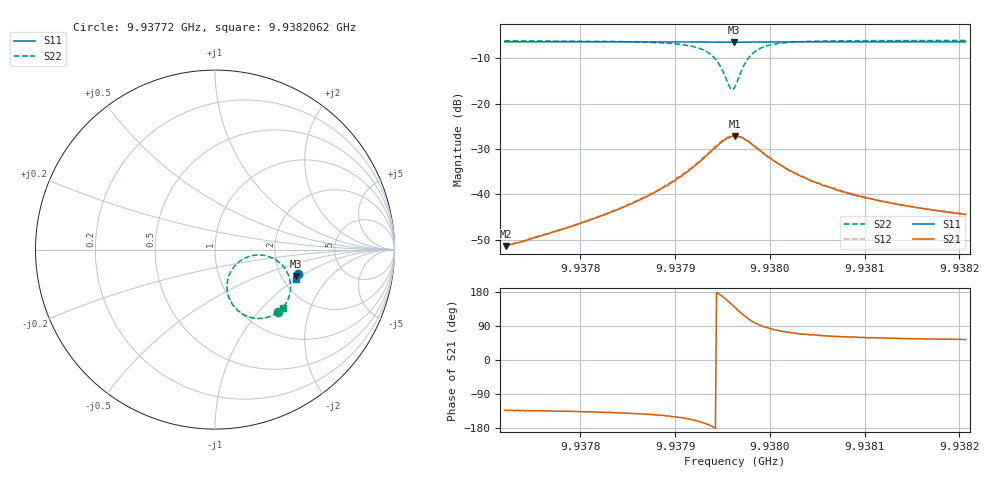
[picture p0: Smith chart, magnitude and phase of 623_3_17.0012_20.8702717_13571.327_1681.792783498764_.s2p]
#  HZ  S  RI  R  50.00
! Rohde & Schwarz Vector Network Analyzer
! Rohde-Schwarz,ZNB20-2Port,1311601062101988,3.16
! Created: UTC 3/20/2024, 11:20:02 PM
! freq[Hz]  re:S11  im:S11  re:S21  im:S21  re:S12  im:S12  re:S22  im:S22
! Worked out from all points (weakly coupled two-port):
!   401 points, 9.93772 GHz to 9.9382062 GHz, reference 50 ohm
!   highest |S21| = -27.13 dB at 9.9379631 GHz (marker M1); lowest = -51.4 dB at 9.9377212 GHz (marker M2)
!   lowest |S11| = -6.5 dB at 9.9379619 GHz (marker M3), VSWR 2.81, Z = 120 - j46.2 ohm
!   |S11| at or under -10 dB: nowhere
!   |S22| runs from -16.9 to -6.1 dB; largest |S21 - S12| = 0.0022
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9.93771997e9  0.4622 -0.1358  -0.00181 -0.00199  -0.00185 -0.00194  0.3497 -0.3488
9.93772119e9  0.4622 -0.136  -0.00185 -0.00195  -0.00188 -0.00198  0.3495 -0.3489
9.93780142e9  0.4599 -0.1414  -0.00352 -0.00333  -0.0036 -0.00337  0.3304 -0.3613
9.93783911e9  0.459 -0.144  -0.00516 -0.00438  -0.0053 -0.00442  0.3137 -0.3693
9.93788287e9  0.4575 -0.1473  -0.00917 -0.00631  -0.00951 -0.00629  0.2766 -0.3808
9.9379157e9  0.4559 -0.1496  -0.0173 -0.00755  -0.0177 -0.00726  0.2088 -0.3803
9.93793393e9  0.454 -0.1508  -0.027 -0.0048  -0.0276 -0.00451  0.1338 -0.3456
9.93794366e9  0.4529 -0.1509  -0.0338 0.00108  -0.0348 0.00193  0.0858 -0.2873
9.93795095e9  0.4519 -0.1504  -0.0379 0.00966  -0.0386 0.0111  0.0666 -0.2104
9.93795825e9  0.4515 -0.1495  -0.0372 0.0214  -0.0373 0.0235  0.0917 -0.1158
9.93796189e9  0.4517 -0.149  -0.0343 0.0273  -0.034 0.0294  0.126 -0.0745
9.93796311e9  0.4519 -0.1486  -0.033 0.0291  -0.0324 0.031  0.1402 -0.0632
9.93796919e9  0.4525 -0.1483  -0.0241 0.0353  -0.0231 0.0366  0.2198 -0.0313
9.93797526e9  0.4534 -0.1482  -0.0148 0.0364  -0.0136 0.0374  0.2944 -0.037
9.93798134e9  0.4542 -0.1485  -0.00716 0.0348  -0.00633 0.0353  0.3488 -0.0642
9.93798742e9  0.4549 -0.1492  -0.00232 0.0316  -0.00138 0.0318  0.3832 -0.0975
9.93800687e9  0.4553 -0.1515  0.00432 0.022  0.00497 0.0219  0.4196 -0.1833
9.93802146e9  0.4552 -0.1529  0.00552 0.0173  0.00587 0.0173  0.4206 -0.222
9.93804456e9  0.4547 -0.155  0.00544 0.0128  0.0059 0.0128  0.4136 -0.2582
9.93808954e9  0.4537 -0.1583  0.00481 0.00851  0.00507 0.00863  0.3993 -0.2926
9.93812601e9  0.4524 -0.1608  0.00432 0.00679  0.00454 0.00681  0.3908 -0.3071
9.93820624e9  0.4502 -0.1662  0.00352 0.00485  0.00366 0.00486  0.3773 -0.3247
